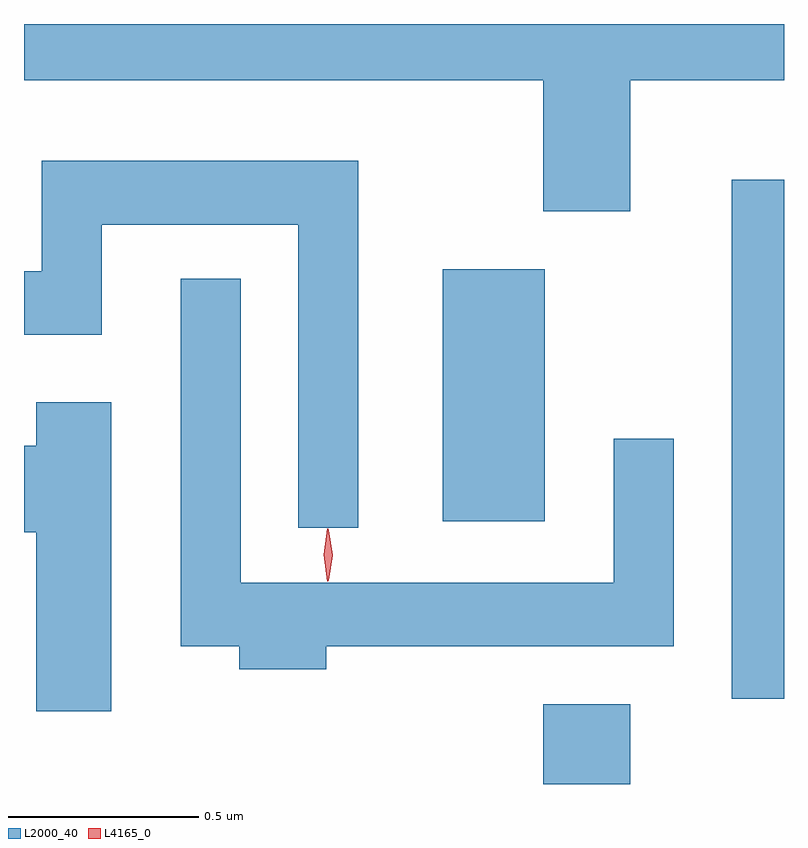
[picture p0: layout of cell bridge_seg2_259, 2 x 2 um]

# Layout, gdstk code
import gdstk
lib = gdstk.Library(unit=1e-6, precision=1e-09)
def R(c, l, rs):  # rectangles x0, y0, x1, y1
    for r in rs: c.add(gdstk.rectangle(r[:2], r[2:], *l))
def P(c, l, *ps):  # polygons
    for p in ps: c.add(gdstk.Polygon(p, *l))
L2000_40 = (2000, 40)
L4165_0 = (4165, 0)

bridge_seg2_259 = lib.new_cell('bridge_seg2_259')
R(bridge_seg2_259, L2000_40, [(493.761,1081.984,493.989,1082.194), (494.256,1082.208,494.394,1083.574), (493.496,1082.676,493.764,1083.339)])
P(bridge_seg2_259, L2000_40, [(493.989,1083.836),(494.394,1083.836),(494.394,1083.984),(492.394,1083.984),(492.394,1083.836),(493.761,1083.836),(493.761,1083.491),(493.989,1083.491)],
  [(493.274,1083.624),(492.441,1083.624),(492.441,1083.334),(492.394,1083.334),(492.394,1083.166),(492.599,1083.166),(492.599,1083.456),(493.116,1083.456),(493.116,1082.658),(493.274,1082.658)],
  [(493.189,1082.346),(494.104,1082.346),(494.104,1082.893),(493.946,1082.893),(493.946,1082.514),(492.964,1082.514),(492.964,1083.313),(492.806,1083.313),(492.806,1082.346),(492.961,1082.346),(492.961,1082.286),(493.189,1082.286)],
  [(492.624,1082.989),(492.426,1082.989),(492.426,1082.874),(492.394,1082.874),(492.394,1082.646),(492.426,1082.646),(492.426,1082.176),(492.624,1082.176)])
P(bridge_seg2_259, L4165_0, [(493.192,1082.517),(493.183,1082.587),(493.192,1082.656),(493.193,1082.656),(493.194,1082.656),(493.203,1082.587),(493.194,1082.517),(493.193,1082.517)],
  [(493.195,1082.52),(493.185,1082.586),(493.195,1082.652),(493.196,1082.653),(493.196,1082.652),(493.206,1082.586),(493.196,1082.52),(493.196,1082.52)])

lib.write_gds('bridge_seg2_259.gds')
